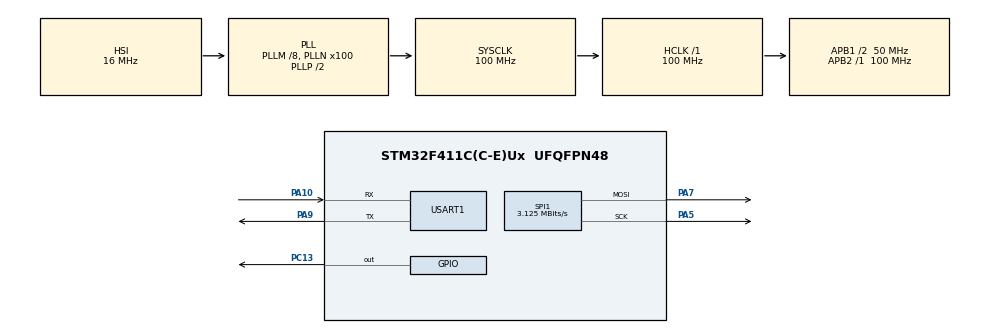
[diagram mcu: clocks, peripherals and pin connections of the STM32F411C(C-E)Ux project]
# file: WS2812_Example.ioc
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Mcu.Family=STM32F4
Mcu.Name=STM32F411C(C-E)Ux
Mcu.Package=UFQFPN48
NVIC.PriorityGroup=NVIC_PRIORITYGROUP_4
PA10.Mode=Asynchronous
PA10.Signal=USART1_RX
PA13.Mode=Serial_Wire
PA13.Signal=SYS_JTMS-SWDIO
PA14.Mode=Serial_Wire
PA14.Signal=SYS_JTCK-SWCLK
PA5.Mode=TX_Only_Simplex_Unidirect_Master
PA5.Signal=SPI1_SCK
PA7.Mode=TX_Only_Simplex_Unidirect_Master
PA7.Signal=SPI1_MOSI
PA9.Mode=Asynchronous
PA9.Signal=USART1_TX
PC13-ANTI_TAMP.Signal=GPIO_Output
PH0\ -\ OSC_IN.Mode=HSE-External-Oscillator
PH0\ -\ OSC_IN.Signal=RCC_OSC_IN
PH1\ -\ OSC_OUT.Mode=HSE-External-Oscillator
PH1\ -\ OSC_OUT.Signal=RCC_OSC_OUT
ProjectManager.HeapSize=0x200
ProjectManager.StackSize=0x400
ProjectManager.TargetToolchain=STM32CubeIDE
RCC.48MHZClocksFreq_Value=50000000
RCC.AHBFreq_Value=100000000
RCC.APB1CLKDivider=RCC_HCLK_DIV2
RCC.APB1Freq_Value=50000000
RCC.APB1TimFreq_Value=100000000
RCC.APB2Freq_Value=100000000
RCC.APB2TimFreq_Value=100000000
RCC.CortexFreq_Value=100000000
RCC.HCLKFreq_Value=100000000
RCC.HSE_VALUE=25000000
RCC.HSI_VALUE=16000000
RCC.LSE_VALUE=32768
RCC.PLLM=8
RCC.PLLN=100
RCC.SYSCLKFreq_VALUE=100000000
RCC.SYSCLKSource=RCC_SYSCLKSOURCE_PLLCLK
RCC.VCOOutputFreq_Value=200000000
SPI1.BaudRatePrescaler=SPI_BAUDRATEPRESCALER_32
SPI1.CalculateBaudRate=3.125 MBits/s
SPI1.Direction=SPI_DIRECTION_2LINES
SPI1.Mode=SPI_MODE_MASTER
SPI1.VirtualType=VM_MASTER
USART1.VirtualMode=VM_ASYNC
board=custom

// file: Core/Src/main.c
/* USER CODE BEGIN Header */
/**
  ******************************************************************************
  * @file           : main.c
  * @brief          : Main program body
  ******************************************************************************
  * @attention
  *
  * Copyright (c) 2026 STMicroelectronics.
  * All rights reserved.
  *
  * This software is licensed under terms that can be found in the LICENSE file
  * in the root directory of this software component.
  * If no LICENSE file comes with this software, it is provided AS-IS.
  *
  ******************************************************************************
  */
/* USER CODE END Header */
#include "main.h"

/* USER CODE BEGIN Includes */
#include "ANSII_Codes.h"
#include "WS2812.h"
#include <stdio.h>
/* USER CODE END Includes */

/* USER CODE BEGIN PD */
/* -- Tira conectada a PA7 (SPI1 MOSI); los tests asumen 16 LEDs (mínimo 8 para el test de Re-Init) -- */
#define WS2812_NUM_LEDS 16

/* -- Parámetros de la batería de pruebas -- */
#define TEST_BRILLO         32U     /**< Brillo de trabajo (un blanco total a 255 consumiría ~1 A con 16 LEDs) */
#define TEST_PASO_MS        1500U  /**< Tiempo que se deja cada imagen para verla */
#define TEST_BARRIDO_MS     50U     /**< Retardo entre pasos de las animaciones */
#define TEST_SHOW_REPS      100U    /**< Transmisiones seguidas del test de temporización */
#define TEST_SHOW_MIN_MS    55U     /**< 100 x Show de 16 LEDs: 269 bytes a 3.125 MHz = 0.69 ms c/u -> ~70 ms (ajustar si cambia el SPI o los LEDs) */
#define TEST_SHOW_MAX_MS    120U    /**< Cota superior: detecta una transmisión mucho más lenta de lo esperado */
/* USER CODE END PD */

/* USER CODE BEGIN PM */
#define WS_CHECK(x)  do { if ((x) != WS2812_OK) { Error_Handler(); } } while (0)
/* Para los tests de error: la llamada debe devolver exactamente el estado esperado */
#define WS_EXPECT(x, st)  do { if ((x) != (st)) { Error_Handler(); } } while (0)
/* Para los tests de valores: la condición debe cumplirse */
#define WS_ASSERT(c)  do { if (!(c)) { Error_Handler(); } } while (0)
/* USER CODE END PM */

SPI_HandleTypeDef hspi1;

UART_HandleTypeDef huart1;

/* USER CODE BEGIN PV */
WS2812_Status_t status;
/* USER CODE END PV */

void SystemClock_Config(void);
static void MX_GPIO_Init(void);
static void MX_SPI1_Init(void);
static void MX_USART1_UART_Init(void);
/* USER CODE BEGIN PFP */
static void WS2812_Llenar(uint8_t r, uint8_t g, uint8_t b);
static void WS2812_TestSuite(void);
static void WS2812_TestPreInit(void);
static void WS2812_TestColorHSV(void);
static void WS2812_TestSetPixel(void);
static void WS2812_TestFill(void);
static void WS2812_TestClear(void);
static void WS2812_TestBrillo(void);
static void WS2812_TestShow(void);
static void WS2812_TestErrores(void);
static void WS2812_TestDeInit(void);
/* USER CODE END PFP */

int main(void)
{

  /* MCU Configuration--------------------------------------------------------*/

  /* Reset of all peripherals, Initializes the Flash interface and the Systick. */
  HAL_Init();

  /* Configure the system clock */
  SystemClock_Config();

  /* Initialize all configured peripherals */
  MX_GPIO_Init();
  MX_SPI1_Init();
  MX_USART1_UART_Init();
  /* USER CODE BEGIN 2 */
  printf(CLEAR_SCREEN CURSOR_HOME COLOR_BOLD COLOR_CYAN "=== Pruebas WS2812 (%u LEDs) ===" COLOR_RESET "\r\n", (unsigned)WS2812_NUM_LEDS);
  WS2812_TestPreInit();

  status = WS2812_Init(&hspi1, WS2812_NUM_LEDS);
  if(status != WS2812_OK)
  {
	  Error_Handler();
  }
  else
  {
	  HAL_GPIO_WritePin(GPIOC, GPIO_PIN_13, GPIO_PIN_RESET);
  }
  /* Init deja el brillo en 255; se baja al de trabajo antes de encender nada */
  WS_ASSERT(WS2812_GetBrightness() == 255U);
  WS_CHECK(WS2812_SetBrightness(TEST_BRILLO));

  /* USER CODE END 2 */

  /* Infinite loop */
  while (1)
  {

    /* USER CODE BEGIN 3 */
    WS2812_TestSuite();
  }
  /* USER CODE END 3 */
}

void SystemClock_Config(void)
{
  RCC_OscInitTypeDef RCC_OscInitStruct = {0};
  RCC_ClkInitTypeDef RCC_ClkInitStruct = {0};

  /** Configure the main internal regulator output voltage
  */
  __HAL_RCC_PWR_CLK_ENABLE();
  __HAL_PWR_VOLTAGESCALING_CONFIG(PWR_REGULATOR_VOLTAGE_SCALE1);

  /** Initializes the RCC Oscillators according to the specified parameters
  * in the RCC_OscInitTypeDef structure.
  */
  RCC_OscInitStruct.OscillatorType = RCC_OSCILLATORTYPE_HSI;
  RCC_OscInitStruct.HSIState = RCC_HSI_ON;
  RCC_OscInitStruct.HSICalibrationValue = RCC_HSICALIBRATION_DEFAULT;
  RCC_OscInitStruct.PLL.PLLState = RCC_PLL_ON;
  RCC_OscInitStruct.PLL.PLLSource = RCC_PLLSOURCE_HSI;
  RCC_OscInitStruct.PLL.PLLM = 8;
  RCC_OscInitStruct.PLL.PLLN = 100;
  RCC_OscInitStruct.PLL.PLLP = RCC_PLLP_DIV2;
  RCC_OscInitStruct.PLL.PLLQ = 4;
  if (HAL_RCC_OscConfig(&RCC_OscInitStruct) != HAL_OK)
  {
    Error_Handler();
  }

  /** Initializes the CPU, AHB and APB buses clocks
  */
  RCC_ClkInitStruct.ClockType = RCC_CLOCKTYPE_HCLK|RCC_CLOCKTYPE_SYSCLK
                              |RCC_CLOCKTYPE_PCLK1|RCC_CLOCKTYPE_PCLK2;
  RCC_ClkInitStruct.SYSCLKSource = RCC_SYSCLKSOURCE_PLLCLK;
  RCC_ClkInitStruct.AHBCLKDivider = RCC_SYSCLK_DIV1;
  RCC_ClkInitStruct.APB1CLKDivider = RCC_HCLK_DIV2;
  RCC_ClkInitStruct.APB2CLKDivider = RCC_HCLK_DIV1;

  if (HAL_RCC_ClockConfig(&RCC_ClkInitStruct, FLASH_LATENCY_3) != HAL_OK)
  {
    Error_Handler();
  }
}

static void MX_SPI1_Init(void)
{

  /* SPI1 parameter configuration*/
  hspi1.Instance = SPI1;
  hspi1.Init.Mode = SPI_MODE_MASTER;
  hspi1.Init.Direction = SPI_DIRECTION_2LINES;
  hspi1.Init.DataSize = SPI_DATASIZE_8BIT;
  hspi1.Init.CLKPolarity = SPI_POLARITY_LOW;
  hspi1.Init.CLKPhase = SPI_PHASE_1EDGE;
  hspi1.Init.NSS = SPI_NSS_SOFT;
  hspi1.Init.BaudRatePrescaler = SPI_BAUDRATEPRESCALER_32;
  hspi1.Init.FirstBit = SPI_FIRSTBIT_MSB;
  hspi1.Init.TIMode = SPI_TIMODE_DISABLE;
  hspi1.Init.CRCCalculation = SPI_CRCCALCULATION_DISABLE;
  hspi1.Init.CRCPolynomial = 10;
  if (HAL_SPI_Init(&hspi1) != HAL_OK)
  {
    Error_Handler();
  }

}

static void MX_USART1_UART_Init(void)
{

  huart1.Instance = USART1;
  huart1.Init.BaudRate = 115200;
  huart1.Init.WordLength = UART_WORDLENGTH_8B;
  huart1.Init.StopBits = UART_STOPBITS_1;
  huart1.Init.Parity = UART_PARITY_NONE;
  huart1.Init.Mode = UART_MODE_TX_RX;
  huart1.Init.HwFlowCtl = UART_HWCONTROL_NONE;
  huart1.Init.OverSampling = UART_OVERSAMPLING_16;
  if (HAL_UART_Init(&huart1) != HAL_OK)
  {
    Error_Handler();
  }

}

static void MX_GPIO_Init(void)
{
  GPIO_InitTypeDef GPIO_InitStruct = {0};

  /* GPIO Ports Clock Enable */
  __HAL_RCC_GPIOC_CLK_ENABLE();
  __HAL_RCC_GPIOH_CLK_ENABLE();
  __HAL_RCC_GPIOA_CLK_ENABLE();

  /*Configure GPIO pin Output Level */
  HAL_GPIO_WritePin(GPIOC, GPIO_PIN_13, GPIO_PIN_RESET);

  /*Configure GPIO pin : PC13 */
  GPIO_InitStruct.Pin = GPIO_PIN_13;
  GPIO_InitStruct.Mode = GPIO_MODE_OUTPUT_PP;
  GPIO_InitStruct.Pull = GPIO_NOPULL;
  GPIO_InitStruct.Speed = GPIO_SPEED_FREQ_LOW;
  HAL_GPIO_Init(GPIOC, &GPIO_InitStruct);

}

/* USER CODE BEGIN 4 */

/* printf por USART1 (PA9): syscalls.c redirige _write a esta función débil */
int __io_putchar(int ch)
{
	uint8_t c = (uint8_t)ch;
	HAL_UART_Transmit(&huart1, &c, 1, HAL_MAX_DELAY);
	return ch;
}

/* Rellena toda la tira con un color y lo transmite */
static void WS2812_Llenar(uint8_t r, uint8_t g, uint8_t b)
{
	WS_CHECK(WS2812_Fill(r, g, b, 0, 0));
	WS_CHECK(WS2812_Show());
}

/* Con el módulo sin inicializar, todo (salvo ColorHSV y GetBrightness) debe devolver NOT_INITIALIZED */
static void WS2812_CheckSinInit(void)
{
	WS_EXPECT(WS2812_SetPixelColor(0, 1, 2, 3), WS2812_NOT_INITIALIZED);
	WS_EXPECT(WS2812_SetPixelColorPacked(0, 0x010203UL), WS2812_NOT_INITIALIZED);
	WS_EXPECT(WS2812_Fill(1, 2, 3, 0, 0), WS2812_NOT_INITIALIZED);
	WS_EXPECT(WS2812_SetBrightness(10), WS2812_NOT_INITIALIZED);
	WS_EXPECT(WS2812_Clear(), WS2812_NOT_INITIALIZED);
	WS_EXPECT(WS2812_Show(), WS2812_NOT_INITIALIZED);
	WS_EXPECT(WS2812_DeInit(), WS2812_NOT_INITIALIZED);

	/* ColorHSV es una función pura: no depende de Init */
	WS_ASSERT(WS2812_ColorHSV(21845, 255, 255) == 0x00FF00UL);
}

/* Apaga la tira, espera y deja el brillo de trabajo: separa un test del siguiente */
static void WS2812_Siguiente(void)
{
	WS_CHECK(WS2812_Clear());
	WS_CHECK(WS2812_Show());
	HAL_Delay(2000);
}

static void WS2812_TestSuite(void)
{
	WS2812_TestColorHSV();
	WS2812_Siguiente();

	WS2812_TestSetPixel();
	WS2812_Siguiente();

	WS2812_TestFill();
	WS2812_Siguiente();

	WS2812_TestClear();
	WS2812_Siguiente();

	WS2812_TestBrillo();
	WS2812_Siguiente();

	WS2812_TestShow();
	WS2812_Siguiente();

	WS2812_TestErrores();
	WS2812_Siguiente();

	WS2812_TestDeInit();
	WS2812_Siguiente();
}

static void WS2812_TestPreInit(void)
{
	/* -- Antes de Init: nada toca el bus y GetBrightness devuelve 255 -- */
	printf(COLOR_YELLOW "[PreInit]" COLOR_RESET "\r\n");
	WS2812_CheckSinInit();
	WS_ASSERT(WS2812_GetBrightness() == 255U);

	printf(COLOR_GREEN "PreInit OK" COLOR_RESET "\r\n");
}

static void WS2812_TestColorHSV(void)
{
	static const struct { uint16_t hue; uint8_t sat; uint8_t val; uint32_t rgb; } puntos[] = {
		/* -- Los seis vértices del círculo cromático (sat y val al máximo) -- */
		{     0, 255, 255, 0xFF0000UL },   /* rojo */
		{ 10923, 255, 255, 0xFFFF00UL },   /* amarillo */
		{ 21845, 255, 255, 0x00FF00UL },   /* verde */
		{ 32768, 255, 255, 0x00FFFFUL },   /* cian */
		{ 43690, 255, 255, 0x0000FFUL },   /* azul */
		{ 54613, 255, 255, 0xFF00FFUL },   /* magenta */
		{ 65535, 255, 255, 0xFF0000UL },   /* el final de la vuelta redondea a rojo */
		{  5000, 255, 255, 0xFF7500UL },   /* tramo intermedio rojo -> amarillo */
		/* -- Saturación y valor -- */
		{ 12345,   0,   0, 0x000000UL },   /* val = 0: negro */
		{     0,   0, 255, 0xFFFFFFUL },   /* sat = 0: blanco */
		{ 21845,   0, 128, 0x808080UL },   /* sat = 0 ignora el matiz: gris */
		{     0, 255, 128, 0x800000UL },   /* valor a la mitad */
		{     0, 128, 255, 0xFF7F7FUL },   /* saturación a la mitad: rojo mezclado con blanco */
	};

	printf(COLOR_YELLOW "[ColorHSV]" COLOR_RESET "\r\n");
	for (uint8_t i = 0; i < sizeof(puntos) / sizeof(puntos[0]); i++)
	{
		WS_ASSERT(WS2812_ColorHSV(puntos[i].hue, puntos[i].sat, puntos[i].val) == puntos[i].rgb);
	}

	/* -- Arcoíris estático con SetPixelColorPacked: rojo -> verde -> azul -> rojo a lo largo de la tira -- */
	printf("Debe verse un arcoiris completo, y luego girando\r\n");
	WS_CHECK(WS2812_Clear());
	for (uint16_t i = 0; i < WS2812_NUM_LEDS; i++)
	{
		WS_CHECK(WS2812_SetPixelColorPacked(i, WS2812_ColorHSV((uint16_t)((uint32_t)i * 65536UL / WS2812_NUM_LEDS), 255, 255)));
	}
	WS_CHECK(WS2812_Show());
	HAL_Delay(TEST_PASO_MS);

	for (uint16_t paso = 0; paso < 128U; paso++)
	{
		for (uint16_t i = 0; i < WS2812_NUM_LEDS; i++)
		{
			uint16_t hue = (uint16_t)((uint32_t)i * 65536UL / WS2812_NUM_LEDS + (uint32_t)paso * 1024UL);
			WS_CHECK(WS2812_SetPixelColorPacked(i, WS2812_ColorHSV(hue, 255, 255)));
		}
		WS_CHECK(WS2812_Show());
		HAL_Delay(TEST_BARRIDO_MS / 2U);
	}

	printf(COLOR_GREEN "ColorHSV OK" COLOR_RESET "\r\n");
}

static void WS2812_TestSetPixel(void)
{
	static const uint8_t colores[3][3] = { {255, 0, 0}, {0, 255, 0}, {0, 0, 255} };

	printf(COLOR_YELLOW "[SetPixel]" COLOR_RESET "\r\n");

	/* -- Orden de colores: si rojo y verde salen cambiados, el orden GRB de la tira está mal -- */
	printf("Debe verse: LED 0 rojo, LED 1 verde, LED 2 azul, ultimo LED blanco\r\n");
	WS_CHECK(WS2812_Clear());
	WS_CHECK(WS2812_SetPixelColor(0, 255, 0, 0));
	WS_CHECK(WS2812_SetPixelColor(1, 0, 255, 0));
	WS_CHECK(WS2812_SetPixelColor(2, 0, 0, 255));
	WS_CHECK(WS2812_SetPixelColor(WS2812_NUM_LEDS - 1U, 255, 255, 255));
	WS_CHECK(WS2812_Show());
	HAL_Delay(TEST_PASO_MS);

	/* -- Sobrescribir un píxel no toca a los demás (no hay Clear entre medias) -- */
	printf("Debe verse: igual, pero el LED 0 ahora amarillo\r\n");
	WS_CHECK(WS2812_SetPixelColor(0, 255, 255, 0));
	WS_CHECK(WS2812_Show());
	HAL_Delay(TEST_PASO_MS);

	/* -- El color empaquetado ignora el byte alto (0xFF en bits 31-24 no cambia nada) -- */
	printf("Debe verse: el LED 0 en rojo\r\n");
	WS_CHECK(WS2812_SetPixelColorPacked(0, 0xFFFF0000UL));
	WS_CHECK(WS2812_Show());
	HAL_Delay(TEST_PASO_MS);

	/* -- Persecución de un píxel en rojo, verde y azul: recorre desde el primero hasta el último LED -- */
	printf("Debe verse un LED recorriendo la tira en rojo, verde y azul\r\n");
	for (uint8_t c = 0; c < 3U; c++)
	{
		for (uint16_t i = 0; i < WS2812_NUM_LEDS; i++)
		{
			WS_CHECK(WS2812_Clear());
			WS_CHECK(WS2812_SetPixelColor(i, colores[c][0], colores[c][1], colores[c][2]));
			WS_CHECK(WS2812_Show());
			HAL_Delay(TEST_BARRIDO_MS);
		}
	}

	printf(COLOR_GREEN "SetPixel OK" COLOR_RESET "\r\n");
}

static void WS2812_TestFill(void)
{
	printf(COLOR_YELLOW "[Fill]" COLOR_RESET "\r\n");

	/* -- count = 0: desde first hasta el final de la tira -- */
	printf("Debe verse: toda la tira en rojo\r\n");
	WS_CHECK(WS2812_Clear());
	WS_CHECK(WS2812_Fill(255, 0, 0, 0, 0));
	WS_CHECK(WS2812_Show());
	HAL_Delay(TEST_PASO_MS);

	/* -- Rango interior: solo cuatro LEDs -- */
	printf("Debe verse: solo los LEDs 4-7 en verde\r\n");
	WS_CHECK(WS2812_Clear());
	WS_CHECK(WS2812_Fill(0, 255, 0, 4, 4));
	WS_CHECK(WS2812_Show());
	HAL_Delay(TEST_PASO_MS);

	/* -- count excedente: se recorta en el último LED, sin error (y sin tocar los verdes) -- */
	printf("Debe verse: LEDs 4-7 verdes y 12-15 azules\r\n");
	WS_CHECK(WS2812_Fill(0, 0, 255, 12, 100));
	WS_CHECK(WS2812_Show());
	HAL_Delay(TEST_PASO_MS);

	/* -- count = 0 con first > 0: hasta el final, sobrescribe los azules -- */
	printf("Debe verse: LEDs 4-7 verdes y 8-15 amarillos\r\n");
	WS_CHECK(WS2812_Fill(255, 255, 0, 8, 0));
	WS_CHECK(WS2812_Show());
	HAL_Delay(TEST_PASO_MS);

	/* -- Un solo LED en cada extremo -- */
	printf("Debe verse: lo anterior, con los LEDs 0 y 15 en magenta\r\n");
	WS_CHECK(WS2812_Fill(255, 0, 255, 0, 1));
	WS_CHECK(WS2812_Fill(255, 0, 255, WS2812_NUM_LEDS - 1U, 1));
	WS_CHECK(WS2812_Show());
	HAL_Delay(TEST_PASO_MS);

	printf(COLOR_GREEN "Fill OK" COLOR_RESET "\r\n");
}

static void WS2812_TestClear(void)
{
	printf(COLOR_YELLOW "[Clear]" COLOR_RESET "\r\n");

	printf("Debe verse: toda la tira en blanco tenue\r\n");
	WS2812_Llenar(255, 255, 255);
	HAL_Delay(TEST_PASO_MS);

	/* -- Clear solo borra el buffer: la tira no cambia hasta el siguiente Show -- */
	printf("Debe verse: sigue en blanco (Clear no transmite)\r\n");
	WS_CHECK(WS2812_Clear());
	HAL_Delay(TEST_PASO_MS);

	printf("Debe verse: tira apagada\r\n");
	WS_CHECK(WS2812_Show());
	HAL_Delay(TEST_PASO_MS);

	/* -- Tras Clear los píxeles quedan en negro, también para los siguientes Set -- */
	printf("Debe verse: solo el LED 3 en blanco\r\n");
	WS_CHECK(WS2812_SetPixelColor(3, 255, 255, 255));
	WS_CHECK(WS2812_Show());
	HAL_Delay(TEST_PASO_MS);

	printf(COLOR_GREEN "Clear OK" COLOR_RESET "\r\n");
}

static void WS2812_TestBrillo(void)
{
	WS_ASSERT(WS2812_GetBrightness() == TEST_BRILLO);
	printf(COLOR_YELLOW "[Brillo]" COLOR_RESET "\r\n");

	/* -- Get devuelve lo último fijado, para los 256 valores (también repetidos) -- */
	for (uint16_t v = 0; v < 256U; v++)
	{
		WS_CHECK(WS2812_SetBrightness((uint8_t)v));
		WS_ASSERT(WS2812_GetBrightness() == (uint8_t)v);
		WS_CHECK(WS2812_SetBrightness((uint8_t)v));
		WS_ASSERT(WS2812_GetBrightness() == (uint8_t)v);
	}

	/* -- SetBrightness reescala lo ya almacenado -- */
	printf("Debe verse: rojo brillante, luego mas tenue\r\n");
	WS_CHECK(WS2812_Clear());
	WS_CHECK(WS2812_SetBrightness(255));
	WS2812_Llenar(255, 0, 0);
	HAL_Delay(TEST_PASO_MS);
	WS_CHECK(WS2812_SetBrightness(TEST_BRILLO));
	WS_CHECK(WS2812_Show());
	HAL_Delay(TEST_PASO_MS);

	/* -- Brillo 0 apaga; el reescalado pierde datos, así que subirlo no recupera el color: hay que rellenar -- */
	printf("Debe verse: tira apagada (brillo 0), sigue apagada al subir a 255, y rojo al rellenar\r\n");
	WS_CHECK(WS2812_SetBrightness(0));
	WS_CHECK(WS2812_Show());
	HAL_Delay(TEST_PASO_MS);
	WS_CHECK(WS2812_SetBrightness(255));
	WS_CHECK(WS2812_Show());
	HAL_Delay(TEST_PASO_MS);
	WS2812_Llenar(255, 0, 0);
	HAL_Delay(TEST_PASO_MS);

	/* -- "Respiración" de brillo: el magenta se rellena en cada paso -- */
	printf("Debe verse: magenta subiendo y bajando de brillo\r\n");
	for (int16_t b = 0; b <= 255; b += 5)
	{
		WS_CHECK(WS2812_SetBrightness((uint8_t)b));
		WS_CHECK(WS2812_Fill(255, 0, 255, 0, 0));
		WS_CHECK(WS2812_Show());
		HAL_Delay(10);
	}
	for (int16_t b = 255; b >= 0; b -= 5)
	{
		WS_CHECK(WS2812_SetBrightness((uint8_t)b));
		WS_CHECK(WS2812_Fill(255, 0, 255, 0, 0));
		WS_CHECK(WS2812_Show());
		HAL_Delay(10);
	}

	/* Vuelve al brillo de trabajo para los demás tests */
	WS_CHECK(WS2812_SetBrightness(TEST_BRILLO));
	printf(COLOR_GREEN "Brillo OK" COLOR_RESET "\r\n");
}

static void WS2812_TestShow(void)
{
	printf(COLOR_YELLOW "[Show]" COLOR_RESET "\r\n");

	/* -- Show no modifica el buffer: transmitir dos veces seguidas deja la misma imagen -- */
	printf("Debe verse: toda la tira en azul, sin parpadeos\r\n");
	WS2812_Llenar(0, 0, 255);
	WS_CHECK(WS2812_Show());
	HAL_Delay(TEST_PASO_MS);

	/* -- Temporización: 100 transmisiones de 269 bytes a 3.125 MHz deben tardar ~70 ms; muy por debajo
	 *    indica que Show no envía todos los bytes, muy por encima, un SPI más lento de lo configurado -- */
	uint32_t t0 = HAL_GetTick();
	for (uint16_t i = 0; i < TEST_SHOW_REPS; i++)
	{
		WS_CHECK(WS2812_Show());
	}
	uint32_t dt = HAL_GetTick() - t0;
	printf("%u x Show = %lu ms (esperado %u-%u ms)\r\n", (unsigned)TEST_SHOW_REPS, (unsigned long)dt,
	       (unsigned)TEST_SHOW_MIN_MS, (unsigned)TEST_SHOW_MAX_MS);
	WS_ASSERT(dt >= TEST_SHOW_MIN_MS && dt <= TEST_SHOW_MAX_MS);

	/* -- Un fallo del HAL (SPI ocupado -> HAL_BUSY) se traduce en WS2812_ERROR y el driver se recupera.
	 *    WS2812_TIMEOUT no se puede provocar así: depende de WS2812_SPI_TIMEOUT_MS -- */
	hspi1.State = HAL_SPI_STATE_BUSY_TX;
	WS_EXPECT(WS2812_Show(), WS2812_ERROR);
	hspi1.State = HAL_SPI_STATE_READY;
	WS_CHECK(WS2812_Show());

	printf(COLOR_GREEN "Show OK" COLOR_RESET "\r\n");
}

static void WS2812_TestErrores(void)
{
	SPI_HandleTypeDef h;

	printf(COLOR_YELLOW "[Errores]" COLOR_RESET "\r\n");

	/* -- Índices fuera de la tira: se rechazan sin escribir nada -- */
	WS_EXPECT(WS2812_SetPixelColor(WS2812_NUM_LEDS, 255, 255, 255), WS2812_INVALID_PARAM);
	WS_EXPECT(WS2812_SetPixelColor(0xFFFF, 255, 255, 255), WS2812_INVALID_PARAM);
	WS_EXPECT(WS2812_SetPixelColorPacked(WS2812_NUM_LEDS, 0xFFFFFFUL), WS2812_INVALID_PARAM);
	WS_EXPECT(WS2812_Fill(255, 255, 255, WS2812_NUM_LEDS, 1), WS2812_INVALID_PARAM);
	WS_EXPECT(WS2812_Fill(255, 255, 255, 0xFFFF, 0), WS2812_INVALID_PARAM);

	/* -- count enorme no desborda first + count: se recorta en el último LED -- */
	WS_CHECK(WS2812_Fill(0, 0, 0, WS2812_NUM_LEDS - 1U, 0xFFFF));
	WS_CHECK(WS2812_Fill(0, 0, 0, 0, 0xFFFF));

	/* -- Init con parámetros inválidos: se rechaza antes de tocar el estado del driver -- */
	WS_EXPECT(WS2812_Init(NULL, WS2812_NUM_LEDS), WS2812_INVALID_PARAM);
	WS_EXPECT(WS2812_Init(&hspi1, 0), WS2812_INVALID_PARAM);
	WS_EXPECT(WS2812_Init(&hspi1, WS2812_MAX_LEDS + 1U), WS2812_INVALID_PARAM);

	/* -- Init con un SPI mal configurado (cada caso sobre una copia del handle de SPI1) -- */
	h = hspi1; h.Instance = NULL;
	WS_EXPECT(WS2812_Init(&h, WS2812_NUM_LEDS), WS2812_INVALID_PARAM);
	h = hspi1; h.State = HAL_SPI_STATE_RESET;
	WS_EXPECT(WS2812_Init(&h, WS2812_NUM_LEDS), WS2812_INVALID_PARAM);
	h = hspi1; h.Init.Mode = SPI_MODE_SLAVE;
	WS_EXPECT(WS2812_Init(&h, WS2812_NUM_LEDS), WS2812_INVALID_PARAM);
	h = hspi1; h.Init.Direction = SPI_DIRECTION_2LINES_RXONLY;
	WS_EXPECT(WS2812_Init(&h, WS2812_NUM_LEDS), WS2812_INVALID_PARAM);
	h = hspi1; h.Init.DataSize = SPI_DATASIZE_16BIT;
	WS_EXPECT(WS2812_Init(&h, WS2812_NUM_LEDS), WS2812_INVALID_PARAM);
	h = hspi1; h.Init.FirstBit = SPI_FIRSTBIT_LSB;
	WS_EXPECT(WS2812_Init(&h, WS2812_NUM_LEDS), WS2812_INVALID_PARAM);

	/* -- Tras los rechazos el driver sigue operativo y con la misma tira (último LED sí, el siguiente no) -- */
	printf("Debe verse: solo el ultimo LED en verde\r\n");
	WS_CHECK(WS2812_Clear());
	WS_CHECK(WS2812_SetPixelColor(WS2812_NUM_LEDS - 1U, 0, 255, 0));
	WS_EXPECT(WS2812_SetPixelColor(WS2812_NUM_LEDS, 0, 255, 0), WS2812_INVALID_PARAM);
	WS_CHECK(WS2812_Show());
	HAL_Delay(TEST_PASO_MS);

	printf(COLOR_GREEN "Errores OK" COLOR_RESET "\r\n");
}

static void WS2812_TestDeInit(void)
{
	printf(COLOR_YELLOW "[DeInit]" COLOR_RESET "\r\n");

	/* -- Re-Init sin DeInit previo, con menos LEDs: libera, reasigna, apaga los píxeles y devuelve el brillo a 255 -- */
	printf("Debe verse: tira en rojo, luego LEDs 0-7 apagados (los 8-15 ya no reciben datos y conservan el rojo)\r\n");
	WS_CHECK(WS2812_SetBrightness(100));
	WS2812_Llenar(255, 0, 0);
	HAL_Delay(TEST_PASO_MS);
	WS_CHECK(WS2812_Init(&hspi1, 8));
	WS_ASSERT(WS2812_GetBrightness() == 255U);
	WS_CHECK(WS2812_SetPixelColor(7, 0, 0, 0));
	WS_EXPECT(WS2812_SetPixelColor(8, 0, 0, 0), WS2812_INVALID_PARAM);
	WS_CHECK(WS2812_Show());
	HAL_Delay(TEST_PASO_MS);

	/* -- Tira de un solo LED: el mínimo permitido -- */
	printf("Debe verse: el LED 0 en azul tenue\r\n");
	WS_CHECK(WS2812_Init(&hspi1, 1));
	WS_CHECK(WS2812_SetBrightness(TEST_BRILLO));
	WS_CHECK(WS2812_SetPixelColor(0, 0, 0, 255));
	WS_EXPECT(WS2812_SetPixelColor(1, 0, 0, 255), WS2812_INVALID_PARAM);
	WS_CHECK(WS2812_Show());
	HAL_Delay(TEST_PASO_MS);

	/* -- DeInit: todo vuelve a NOT_INITIALIZED, incluido un segundo DeInit -- */
	WS_CHECK(WS2812_DeInit());
	WS2812_CheckSinInit();

	/* -- Init de nuevo con la tira completa: píxeles en negro y brillo al máximo -- */
	printf("Debe verse: tira completamente apagada\r\n");
	WS_CHECK(WS2812_Init(&hspi1, WS2812_NUM_LEDS));
	WS_ASSERT(WS2812_GetBrightness() == 255U);
	WS_CHECK(WS2812_SetBrightness(TEST_BRILLO));
	WS_CHECK(WS2812_Show());
	HAL_Delay(TEST_PASO_MS);

	printf(COLOR_GREEN "DeInit OK" COLOR_RESET "\r\n");
}

/* USER CODE END 4 */

void Error_Handler(void)
{
  /* USER CODE BEGIN Error_Handler_Debug */
  /* User can add his own implementation to report the HAL error return state */
  /* Si la UART aún no está inicializada, HAL_UART_Transmit devuelve BUSY sin bloquear */
  printf(COLOR_BOLD COLOR_RED "\r\nERROR: prueba fallida" COLOR_RESET "\r\n");
  while (1)
  {
	  HAL_GPIO_TogglePin(GPIOC, GPIO_PIN_13);
	  HAL_Delay(200);
  }
  /* USER CODE END Error_Handler_Debug */
}
